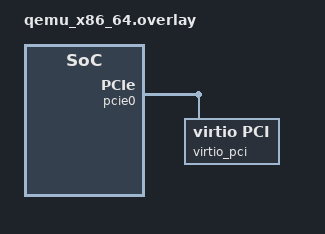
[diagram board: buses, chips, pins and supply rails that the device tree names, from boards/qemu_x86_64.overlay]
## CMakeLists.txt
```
# SPDX-License-Identifier: Apache-2.0

cmake_minimum_required(VERSION 3.28.0)
find_package(Zephyr REQUIRED HINTS $ENV{ZEPHYR_BASE})
project(virtiofs)

file(GLOB app_sources src/*.c)

target_sources(app PRIVATE ${app_sources})

target_include_directories(app PRIVATE "${ZEPHYR_BASE}/drivers/virtio")
```

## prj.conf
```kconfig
CONFIG_ZTEST=y
CONFIG_VIRTIO=y
CONFIG_PCIE=y
CONFIG_FILE_SYSTEM=y
CONFIG_FILE_SYSTEM_VIRTIOFS=y
# Exercise overlong entries with names that fit the host filesystem.
CONFIG_FILE_SYSTEM_MAX_FILE_NAME=31
# Created directories need execute permission for traversal by virtiofsd.
CONFIG_VIRTIOFS_CREATE_MODE_VALUE=511
CONFIG_HEAP_MEM_POOL_SIZE=100000
CONFIG_MAIN_STACK_SIZE=16384
CONFIG_ZTEST_STACK_SIZE=8192

# Static vhost-user-fs device. The matching "-chardev socket,...path=<socket>"
# flag is injected at run time by the twister virtiofs harness.
CONFIG_QEMU_EXTRA_FLAGS="-device vhost-user-fs-pci,queue-size=1024,chardev=char0,tag=myfs -m 32M -object memory-backend-memfd,id=mem,size=32M,share=on -numa node,memdev=mem"
```

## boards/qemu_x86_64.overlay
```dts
&pcie0 {
	virtio_pci: virtio_pci {
		compatible = "virtio,pci";

		vendor-id = <0x1af4>;
		device-id = <0x105a>;

		interrupts = <0xb 0x0 0x0>;
		interrupt-parent = <&intc>;

		status = "okay";
	};
};

/* The board defines a virtio-input PCI device, but this test only wires up a
 * vhost-user-fs device in QEMU. Disable the input node so the virtio-pci
 * driver does not try (and fail) to initialise a device that is not present.
 */
&virtio_input_pci {
	status = "disabled";
};
```

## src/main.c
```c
/*
 * SPDX-FileCopyrightText: Copyright The Zephyr Project Contributors
 * SPDX-License-Identifier: Apache-2.0
 */

#include <zephyr/ztest.h>
#include <zephyr/device.h>
#include <zephyr/fs/fs.h>
#include <zephyr/fs/virtiofs.h>
#include "test_virtiofs.h"

#define VIRTIO_DEV DEVICE_DT_GET(DT_NODELABEL(virtio_pci))

static struct virtiofs_fs_data fs_data;

/*
 * The host share is exported by the virtiofsd daemon that the twister virtiofs
 * harness starts before QEMU boots. The guest reaches it through the
 * vhost-user-fs PCI device described in the board overlay.
 *
 * virtiofsd keeps a single FUSE session per connection: mounting sends
 * FUSE_INIT and unmounting sends FUSE_DESTROY, after which the session cannot
 * be re-initialised. The suite therefore mounts once in setup() and unmounts
 * once in teardown(), and the individual tests operate on that single mount.
 */
struct fs_mount_t testfs_mnt = {
	.type = FS_VIRTIOFS,
	.fs_data = &fs_data,
	.flags = 0,
	.storage_dev = (void *)VIRTIO_DEV,
	.mnt_point = VIRTIOFS_MNT,
};

static void *virtiofs_setup(void)
{
	zassert_ok(fs_mount(&testfs_mnt), "mount failed");
	/* Start from a known empty share regardless of host contents. */
	zassert_ok(delete_dir_recursive(VIRTIOFS_MNT), "wiping share failed");

	return NULL;
}

static void virtiofs_teardown(void *f)
{
	ARG_UNUSED(f);

	(void)fs_unmount(&testfs_mnt);
}

ZTEST_SUITE(virtiofs, NULL, virtiofs_setup, NULL, NULL, virtiofs_teardown);
```

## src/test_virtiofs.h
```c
/*
 * SPDX-FileCopyrightText: Copyright The Zephyr Project Contributors
 * SPDX-License-Identifier: Apache-2.0
 */

#ifndef ZEPHYR_TESTS_SUBSYS_FS_VIRTIOFS_TEST_VIRTIOFS_H_
#define ZEPHYR_TESTS_SUBSYS_FS_VIRTIOFS_TEST_VIRTIOFS_H_

#include <zephyr/fs/fs.h>

/* Mount point of the shared host directory. */
#define VIRTIOFS_MNT "/virtiofs"

/* Mounted once by the suite setup, unmounted by the suite teardown. */
extern struct fs_mount_t testfs_mnt;

/* Remove every entry under path so the share starts empty. */
int delete_dir_recursive(const char *path);

#endif /* ZEPHYR_TESTS_SUBSYS_FS_VIRTIOFS_TEST_VIRTIOFS_H_ */
```

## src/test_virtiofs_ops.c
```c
/*
 * SPDX-FileCopyrightText: Copyright The Zephyr Project Contributors
 * SPDX-License-Identifier: Apache-2.0
 */

#include <errno.h>
#include <stdio.h>
#include <string.h>
#include <zephyr/ztest.h>
#include <zephyr/fs/fs.h>
#include <zephyr/fs/virtiofs.h>
#include "test_virtiofs.h"

#define PATH(name) VIRTIOFS_MNT "/" name

/* Create a file, write to it, read it back and check the contents survive a
 * close/re-open round trip through the host file system.
 */
ZTEST(virtiofs, test_create_write_read)
{
	static const char payload[] = "virtiofs round trip";
	char buf[sizeof(payload)];
	struct fs_file_t file;

	fs_file_t_init(&file);

	zassert_ok(fs_open(&file, PATH("rw_file"), FS_O_CREATE | FS_O_RDWR),
		   "open for write failed");
	zassert_equal(fs_write(&file, payload, sizeof(payload)), sizeof(payload),
		      "short write");
	zassert_ok(fs_close(&file), "close after write failed");

	fs_file_t_init(&file);
	zassert_ok(fs_open(&file, PATH("rw_file"), FS_O_READ), "open for read failed");
	zassert_equal(fs_read(&file, buf, sizeof(buf)), sizeof(buf), "short read");
	zassert_ok(fs_close(&file), "close after read failed");

	zassert_mem_equal(buf, payload, sizeof(payload), "read back mismatch");
}

/* A device that reports max_write == 0 must still be mountable: zero-length
 * writes are no-ops, while non-empty writes are rejected.
 */
ZTEST(virtiofs, test_zero_max_write)
{
	struct virtiofs_fs_data *fs_data = testfs_mnt.fs_data;
	const char byte = 'x';
	struct fs_file_t file;
	uint32_t saved;
	ssize_t zero_ret;
	ssize_t write_ret;

	fs_file_t_init(&file);
	zassert_ok(fs_open(&file, PATH("zero_max_write"), FS_O_CREATE | FS_O_RDWR), "open failed");

	saved = fs_data->max_write;
	fs_data->max_write = 0U;

	zero_ret = fs_write(&file, &byte, 0U);
	write_ret = fs_write(&file, &byte, 1U);

	fs_data->max_write = saved;
	zassert_ok(fs_close(&file), "close failed");

	zassert_equal(zero_ret, 0, "zero-length write failed");
	zassert_equal(write_ret, -ENOTSUP, "write with max_write == 0 was not rejected");
}

/* stat a freshly written file and confirm type and size. */
ZTEST(virtiofs, test_stat)
{
	static const char payload[] = "0123456789";
	struct fs_file_t file;
	struct fs_dirent stat;

	fs_file_t_init(&file);
	zassert_ok(fs_open(&file, PATH("stat_file"), FS_O_CREATE | FS_O_WRITE),
		   "open failed");
	zassert_equal(fs_write(&file, payload, sizeof(payload)), sizeof(payload),
		      "short write");
	zassert_ok(fs_close(&file), "close failed");

	zassert_ok(fs_stat(PATH("stat_file"), &stat), "stat failed");
	zassert_equal(stat.type, FS_DIR_ENTRY_FILE, "not a file");
	zassert_equal(stat.size, sizeof(payload), "unexpected size");
}

/* Create a directory with a couple of files and verify they show up in a
 * readdir, exercising mkdir/opendir/readdir over virtiofs.
 */
ZTEST(virtiofs, test_mkdir_readdir)
{
	struct fs_file_t file;
	struct fs_dir_t dir;
	struct fs_dirent entry;
	bool seen_a = false;
	bool seen_b = false;

	zassert_ok(fs_mkdir(PATH("d")), "mkdir failed");

	fs_file_t_init(&file);
	zassert_ok(fs_open(&file, PATH("d/a"), FS_O_CREATE | FS_O_WRITE), "create a failed");
	zassert_ok(fs_close(&file), "close a failed");

	fs_file_t_init(&file);
	zassert_ok(fs_open(&file, PATH("d/b"), FS_O_CREATE | FS_O_WRITE), "create b failed");
	zassert_ok(fs_close(&file), "close b failed");

	fs_dir_t_init(&dir);
	zassert_ok(fs_opendir(&dir, PATH("d")), "opendir failed");

	while (true) {
		zassert_ok(fs_readdir(&dir, &entry), "readdir failed");
		if (entry.name[0] == '\0') {
			break;
		}
		if (strcmp(entry.name, "a") == 0) {
			seen_a = true;
		} else if (strcmp(entry.name, "b") == 0) {
			seen_b = true;
		}
	}

	zassert_ok(fs_closedir(&dir), "closedir failed");
	zassert_true(seen_a && seen_b, "created entries not listed");
}

/* Unlink removes a file so a subsequent stat fails. */
ZTEST(virtiofs, test_unlink)
{
	struct fs_file_t file;
	struct fs_dirent stat;

	fs_file_t_init(&file);
	zassert_ok(fs_open(&file, PATH("victim"), FS_O_CREATE | FS_O_WRITE), "create failed");
	zassert_ok(fs_close(&file), "close failed");
	zassert_ok(fs_stat(PATH("victim"), &stat), "stat before unlink failed");

	zassert_ok(fs_unlink(PATH("victim")), "unlink failed");
	zassert_not_equal(fs_stat(PATH("victim"), &stat), 0, "file still present after unlink");
}

/*
 * Enough files and name lengths to span several READDIR response buffers.
 * Each entry also triggers a LOOKUP for its size (and a FORGET), so this
 * exercises the batched parser and the asynchronous FORGET path together.
 */
#define BATCH_FILES 40U

ZTEST(virtiofs, test_readdir_multiple_batches)
{
	struct fs_dir_t dir;
	struct fs_dirent entry;
	bool seen[BATCH_FILES] = {false};
	char name[32];
	size_t count = 0;

	zassert_ok(fs_mkdir(PATH("batch")), "mkdir failed");

	for (size_t i = 0; i < BATCH_FILES; i++) {
		struct fs_file_t file;
		char path[64];

		snprintf(name, sizeof(name), "file_%02zu_%s", i,
			 (i % 2) == 0 ? "n" : "longer_name");
		snprintf(path, sizeof(path), "%s/%s", PATH("batch"), name);

		fs_file_t_init(&file);
		zassert_ok(fs_open(&file, path, FS_O_CREATE | FS_O_WRITE), "create %s failed",
			   name);
		zassert_ok(fs_close(&file), "close %s failed", name);
	}

	fs_dir_t_init(&dir);
	zassert_ok(fs_opendir(&dir, PATH("batch")), "opendir failed");

	while (true) {
		unsigned int index;

		zassert_ok(fs_readdir(&dir, &entry), "readdir failed");
		if (entry.name[0] == '\0') {
			break;
		}

		zassert_equal(sscanf(entry.name, "file_%02u_", &index), 1,
			      "unexpected entry name %s", entry.name);
		zassert_true(index < BATCH_FILES, "entry index %u out of range", index);
		zassert_false(seen[index], "duplicate entry %s", entry.name);
		zassert_equal(entry.type, FS_DIR_ENTRY_FILE, "unexpected type for %s", entry.name);
		seen[index] = true;
		count++;
	}

	zassert_ok(fs_closedir(&dir), "closedir failed");
	zassert_equal(count, BATCH_FILES, "expected %u entries, got %zu", BATCH_FILES, count);
}

/* An empty directory must terminate the first readdir immediately. */
ZTEST(virtiofs, test_readdir_empty)
{
	struct fs_dir_t dir;
	struct fs_dirent entry;

	zassert_ok(fs_mkdir(PATH("empty")), "mkdir failed");
	fs_dir_t_init(&dir);
	zassert_ok(fs_opendir(&dir, PATH("empty")), "opendir failed");
	zassert_ok(fs_readdir(&dir, &entry), "readdir failed");
	zassert_equal(entry.name[0], '\0', "empty directory returned an entry");
	zassert_ok(fs_closedir(&dir), "closedir failed");
}

ZTEST(virtiofs, test_readdir_buffer_exhaustion)
{
	struct fs_dir_t dirs[CONFIG_VIRTIOFS_READDIR_BUFFERS + 1U];
	struct fs_file_t file;
	struct fs_dirent entry;
	size_t opened = 0U;
	int ret = 0;
	int close_ret = 0;
	bool entries_match = true;

	zassert_ok(fs_mkdir(PATH("fallback")), "mkdir failed");
	fs_file_t_init(&file);
	zassert_ok(fs_open(&file, PATH("fallback/file"), FS_O_CREATE | FS_O_WRITE), "open failed");
	zassert_ok(fs_close(&file), "close failed");

	while (opened < ARRAY_SIZE(dirs)) {
		fs_dir_t_init(&dirs[opened]);
		ret = fs_opendir(&dirs[opened], PATH("fallback"));
		if (ret != 0) {
			break;
		}
		opened++;
	}

	for (size_t i = 0U; i < opened && ret == 0; i++) {
		ret = fs_readdir(&dirs[i], &entry);
		if (ret != 0) {
			break;
		}
		entries_match = entries_match && strcmp(entry.name, "file") == 0 &&
				entry.type == FS_DIR_ENTRY_FILE;
		ret = fs_readdir(&dirs[i], &entry);
		entries_match = entries_match && ret == 0 && entry.name[0] == '\0';
	}

	for (size_t i = 0U; i < opened; i++) {
		int err = fs_closedir(&dirs[i]);

		if (err != 0) {
			close_ret = err;
		}
	}

	zassert_equal(opened, ARRAY_SIZE(dirs), "not all directories opened");
	zassert_ok(ret, "directory read failed");
	zassert_true(entries_match, "unexpected entry or missing end of directory");
	zassert_ok(close_ret, "closedir failed");
}

ZTEST(virtiofs, test_readdir_oversized_name)
{
	struct fs_file_t file;
	struct fs_dir_t dir;
	struct fs_dirent entry;
	char path[sizeof(PATH("long_name/")) + MAX_FILE_NAME + 1U] = PATH("long_name/");
	size_t prefix_len = strlen(path);
	int ret;

	BUILD_ASSERT(MAX_FILE_NAME < 255, "test name must fit the host filesystem");
	memset(path + prefix_len, 'x', MAX_FILE_NAME + 1U);
	path[sizeof(path) - 1U] = '\0';
	zassert_ok(fs_mkdir(PATH("long_name")), "mkdir failed");
	fs_file_t_init(&file);
	zassert_ok(fs_open(&file, path, FS_O_CREATE | FS_O_WRITE), "open failed");
	zassert_ok(fs_close(&file), "close failed");
	fs_dir_t_init(&dir);
	zassert_ok(fs_opendir(&dir, PATH("long_name")), "opendir failed");
	ret = fs_readdir(&dir, &entry);
	zassert_ok(fs_closedir(&dir), "closedir failed");
	zassert_equal(ret, -ENAMETOOLONG, "overlong entry name was not rejected");
}
```

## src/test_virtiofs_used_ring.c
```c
/*
 * SPDX-FileCopyrightText: Copyright (c) 2026 Process Mission
 * SPDX-License-Identifier: Apache-2.0
 *
 * Regression coverage for the used ring completion path: duplicate chain
 * returns, a batch of two valid completions, and a self-referential chain.
 *
 * The ISR must reject a used ring entry that does not name a chain
 * submitted and still awaiting completion: a repeating device would
 * otherwise push the same descriptors onto the free stack twice, so two
 * later chains share buffers, and the free descriptor counter grows past
 * the queue size while k_stack_push() drops the pushes.
 *
 * The vhost-user-fs device is only used to bring the request virtqueue up
 * and quiesce it; the completions are written by the test itself and
 * processed by calling virtio_isr() directly, so the test is
 * deterministic. The queue state is restored before returning so the other
 * cases in the suite are unaffected.
 */

#include <string.h>
#include <zephyr/device.h>
#include <zephyr/drivers/virtio.h>
#include <zephyr/drivers/virtio/virtio_config.h>
#include <zephyr/drivers/virtio/virtqueue.h>
#include <zephyr/kernel.h>
#include <zephyr/sys/atomic.h>
#include <zephyr/sys/byteorder.h>
#include <zephyr/ztest.h>

#include "virtio_common.h"

#define VIRTIO_DEV DEVICE_DT_GET(DT_NODELABEL(virtio_pci))

/* descriptors in the fake in-flight chain whose id gets re-returned */
#define FAKE_CHAIN_LEN 2U

/* extra descriptors held out of the stack, one as a never-submitted id */
#define SPARE_DESC_LEN 2U

/* duplicate completions injected after the legitimate one */
#define DUPLICATE_RETURNS 3U

/* independent chains completed in a single used ring update */
#define BATCH_CHAIN_COUNT 2U

struct requeue_test_context {
	struct virtq *vq;
	uint16_t chain_head;
	uint16_t calls;
};

static struct virtq *find_request_virtqueue(const struct device *dev, uint16_t *queue_count)
{
	struct virtq *request_vq = NULL;
	uint16_t matches = 0U;
	uint16_t i = 0U;

	while (true) {
		struct virtq *vq = virtio_get_virtqueue(dev, i);

		if (vq == NULL) {
			break;
		}
		/* the request queue is the only one mount traffic touched */
		if (sys_le16_to_cpu(vq->avail->idx) != 0) {
			request_vq = vq;
			matches++;
		}
		i++;
	}

	*queue_count = i;
	/* an ambiguous request queue would make the test assert the wrong one */
	return matches == 1U ? request_vq : NULL;
}

static void inject_used_entry(struct virtq *vq, uint32_t chain_head)
{
	struct virtq_used_elem *slot;
	uint16_t pos = sys_le16_to_cpu(vq->used->idx) % vq->num;

	slot = &vq->used->ring[pos];
	slot->id = sys_cpu_to_le32(chain_head);
	slot->len = 0U;
	vq->used->idx = sys_cpu_to_le16(sys_le16_to_cpu(vq->used->idx) + 1U);
}

static void requeue_test_cb(void *opaque, uint32_t used_len)
{
	struct requeue_test_context *ctx = opaque;

	ARG_UNUSED(used_len);
	ctx->calls++;
	atomic_set_bit(ctx->vq->in_flight, ctx->chain_head);
}

struct completion_test_context {
	uint16_t calls;
	uint16_t order;
};

static uint16_t completion_order;

static void completion_test_cb(void *opaque, uint32_t used_len)
{
	struct completion_test_context *ctx = opaque;

	ARG_UNUSED(used_len);
	ctx->calls++;
	ctx->order = completion_order++;
}

ZTEST(virtiofs, test_used_ring_duplicate_chain_return)
{
	const struct device *dev = VIRTIO_DEV;
	uint16_t chain_desc[FAKE_CHAIN_LEN];
	uint16_t spare_desc[SPARE_DESC_LEN];
	struct virtq *vq;
	stack_data_t *slots;
	uint8_t *pushed;
	uint16_t queue_count;
	uint16_t base_free_n;
	uint16_t saved_used_idx;
	uint16_t chain_head;
	uint16_t popped;
	uint16_t head_count = 0U;
	uint16_t second_count = 0U;
	struct virtq_receive_callback_entry saved_cbe;
	struct requeue_test_context requeue_ctx;
	bool high_id_rejected;
	bool never_submitted_rejected;
	bool batch_duplicate_rejected;
	bool separate_duplicates_rejected;
	bool setup_count_valid;
	bool stack_valid;
	bool restore_valid = true;
	int ret;

	vq = find_request_virtqueue(dev, &queue_count);
	zassert_not_null(vq, "expected exactly one active request virtqueue");
	zassert_not_equal(queue_count, 0U, "device reports no virtqueues");

	/* the mount traffic of the suite setup must be fully processed */
	for (uint16_t i = 0U; i < 1000U && vq->last_used_idx != sys_le16_to_cpu(vq->used->idx);
	     i++) {
		k_sleep(K_MSEC(1));
	}
	zassert_equal(vq->last_used_idx, sys_le16_to_cpu(vq->used->idx), "used ring not quiesced");

	/* a quiesced queue has every descriptor on the free stack */
	base_free_n = vq->free_desc_n;
	zassert_equal(base_free_n, vq->num, "unexpected free descriptor count %u/%u",
		      (unsigned int)base_free_n, (unsigned int)vq->num);

	/* the device has its own shadow of used->idx; the fake entries below
	 * are invisible to it, so the guest side has to be rewound to this
	 * value at the end to stay aligned with the next real completion
	 */
	saved_used_idx = sys_le16_to_cpu(vq->used->idx);
	slots = k_malloc(vq->num * sizeof(stack_data_t));
	zassert_not_null(slots, "out of memory for free stack dump");
	pushed = k_malloc(vq->num);
	if (pushed == NULL) {
		k_free(slots);
		zassert_not_null(pushed, "out of memory for push back mask");
	}

	/*
	 * Wire a well-formed two descriptor chain the way a submission would
	 * leave it, and hold two extra descriptors out of the stack: one
	 * provides headroom, the other is never submitted and its id is used
	 * to probe the never-submitted path below.
	 */
	uint16_t chain_acquired = 0U;
	uint16_t spare_acquired = 0U;
	bool setup_ok = true;

	for (uint16_t i = 0U; i < FAKE_CHAIN_LEN; i++) {
		ret = virtq_get_free_desc(vq, &chain_desc[i], K_NO_WAIT);
		if (ret != 0) {
			setup_ok = false;
			break;
		}
		chain_acquired++;
	}
	for (uint16_t i = 0U; setup_ok && i < SPARE_DESC_LEN; i++) {
		ret = virtq_get_free_desc(vq, &spare_desc[i], K_NO_WAIT);
		if (ret != 0) {
			setup_ok = false;
			break;
		}
		spare_acquired++;
	}
	if (!setup_ok) {
		for (uint16_t i = 0U; i < chain_acquired; i++) {
			virtq_add_free_desc(vq, chain_desc[i]);
		}
		for (uint16_t i = 0U; i < spare_acquired; i++) {
			virtq_add_free_desc(vq, spare_desc[i]);
		}
		k_free(slots);
		k_free(pushed);
		zassert_true(setup_ok, "unable to allocate descriptors for the test");
		return;
	}
	setup_count_valid = vq->free_desc_n == vq->num - FAKE_CHAIN_LEN - SPARE_DESC_LEN;

	chain_head = chain_desc[0];
	vq->desc[chain_head].next = sys_cpu_to_le16(chain_desc[1]);
	vq->desc[chain_head].flags = sys_cpu_to_le16(VIRTQ_DESC_F_NEXT);
	vq->desc[chain_desc[1]].next = 0U;
	vq->desc[chain_desc[1]].flags = 0U;
	atomic_set_bit(vq->in_flight, chain_head);

	saved_cbe = vq->recv_cbs[chain_head];
	requeue_ctx.vq = vq;
	requeue_ctx.chain_head = chain_head;
	requeue_ctx.calls = 0U;
	vq->recv_cbs[chain_head].cb = requeue_test_cb;
	vq->recv_cbs[chain_head].opaque = &requeue_ctx;

	/* A used-ring ID with high bits set must not alias a valid descriptor. */
	inject_used_entry(vq, ((uint32_t)1U << 16U) | chain_head);
	virtio_isr(dev, VIRTIO_QUEUE_INTERRUPT, queue_count);
	high_id_rejected = vq->free_desc_n == (vq->num - FAKE_CHAIN_LEN - SPARE_DESC_LEN) &&
			   requeue_ctx.calls == 0U && atomic_test_bit(vq->in_flight, chain_head);

	/* a used ring entry for an id that was never submitted is skipped */
	inject_used_entry(vq, spare_desc[0]);
	virtio_isr(dev, VIRTIO_QUEUE_INTERRUPT, queue_count);
	never_submitted_rejected = vq->free_desc_n == (vq->num - FAKE_CHAIN_LEN - SPARE_DESC_LEN) &&
				   requeue_ctx.calls == 0U;

	/* A same-batch duplicate must not complete the callback's requeue. */
	inject_used_entry(vq, chain_head);
	inject_used_entry(vq, chain_head);
	virtio_isr(dev, VIRTIO_QUEUE_INTERRUPT, queue_count);
	batch_duplicate_rejected =
		vq->free_desc_n == vq->num - SPARE_DESC_LEN && requeue_ctx.calls == 1U;

	/* The callback simulates a requeue by marking the same head in flight. */
	atomic_clear_bit(vq->in_flight, chain_head);

	/* Later duplicates must leave the free stack and counter unchanged. */
	for (uint16_t i = 0U; i < DUPLICATE_RETURNS; i++) {
		inject_used_entry(vq, chain_head);
		virtio_isr(dev, VIRTIO_QUEUE_INTERRUPT, queue_count);
	}
	separate_duplicates_rejected = vq->free_desc_n == vq->num - SPARE_DESC_LEN &&
				       requeue_ctx.calls == 1U &&
				       vq->last_used_idx == sys_le16_to_cpu(vq->used->idx);

	/* Check every descriptor, then rebuild the queue before reporting failures. */
	popped = 0U;
	while (popped < vq->num) {
		ret = k_stack_pop(&vq->free_desc_stack, &slots[popped], K_NO_WAIT);
		if (ret != 0) {
			break;
		}
		popped++;
	}
	stack_valid = popped == vq->num - SPARE_DESC_LEN;
	memset(pushed, 0, vq->num);

	for (uint16_t i = 0U; i < popped; i++) {
		uint16_t d = (uint16_t)slots[i];

		if (d >= vq->num || pushed[d] != 0U) {
			stack_valid = false;
			continue;
		}
		pushed[d] = 1U;
		if (d == chain_head) {
			head_count++;
		}
		if (d == chain_desc[1]) {
			second_count++;
		}
	}
	for (uint16_t i = 0U; i < vq->num; i++) {
		bool expected_free = i != spare_desc[0] && i != spare_desc[1];

		if ((pushed[i] != 0U) != expected_free) {
			stack_valid = false;
		}
	}

	for (uint16_t i = 0U; i < vq->num; i++) {
		ret = k_stack_push(&vq->free_desc_stack, (stack_data_t)i);
		if (ret != 0) {
			restore_valid = false;
		}
	}
	vq->free_desc_n = base_free_n;
	atomic_clear_bit(vq->in_flight, chain_head);
	vq->recv_cbs[chain_head] = saved_cbe;

	/*
	 * Rewind the used ring bookkeeping to the device's own shadow: the
	 * fake entries stay in the ring but the next real completion lands on
	 * the first injected slot and overwrites it.
	 */
	vq->used->idx = sys_cpu_to_le16(saved_used_idx);
	vq->last_used_idx = saved_used_idx;

	k_free(slots);
	k_free(pushed);

	zassert_true(setup_count_valid, "free count after fake submission mismatch");
	zassert_true(high_id_rejected, "used ring ID with high bits was accepted");
	zassert_true(never_submitted_rejected, "never-submitted ID was accepted");
	zassert_true(batch_duplicate_rejected,
		     "same-batch duplicate was accepted after its callback requeued the head");
	zassert_true(separate_duplicates_rejected,
		     "later duplicates changed queue state or invoked the callback");
	zassert_true(stack_valid, "free stack contains missing or duplicate descriptors");
	zassert_equal(head_count, 1U, "chain head returned %u times", (unsigned int)head_count);
	zassert_equal(second_count, 1U, "chain tail returned %u times", (unsigned int)second_count);
	zassert_true(restore_valid, "failed to restore free descriptor stack");
}

ZTEST(virtiofs, test_used_ring_batch_of_two_completions)
{
	const struct device *dev = VIRTIO_DEV;
	struct virtq *vq;
	stack_data_t slot;
	uint16_t queue_count;
	uint16_t desc[BATCH_CHAIN_COUNT * 2U];
	uint16_t head[BATCH_CHAIN_COUNT];
	struct virtq_receive_callback_entry saved_cbe[BATCH_CHAIN_COUNT];
	struct completion_test_context ctx[BATCH_CHAIN_COUNT];
	uint16_t base_free_n;
	uint16_t saved_used_idx;
	uint16_t acquired = 0U;
	bool callbacks_ok = true;
	bool completion_ok;
	int ret;

	vq = find_request_virtqueue(dev, &queue_count);
	zassert_not_null(vq, "expected exactly one active request virtqueue");
	zassert_not_equal(queue_count, 0U, "device reports no virtqueues");

	for (uint16_t i = 0U; i < 1000U && vq->last_used_idx != sys_le16_to_cpu(vq->used->idx);
	     i++) {
		k_sleep(K_MSEC(1));
	}
	zassert_equal(vq->last_used_idx, sys_le16_to_cpu(vq->used->idx), "used ring not quiesced");

	base_free_n = vq->free_desc_n;
	zassert_equal(base_free_n, vq->num, "unexpected free descriptor count %u/%u",
		      (unsigned int)base_free_n, (unsigned int)vq->num);
	saved_used_idx = sys_le16_to_cpu(vq->used->idx);
	completion_order = 0U;

	for (uint16_t i = 0U; i < BATCH_CHAIN_COUNT * 2U; i++) {
		ret = virtq_get_free_desc(vq, &desc[i], K_NO_WAIT);
		if (ret != 0) {
			break;
		}
		acquired++;
	}
	if (acquired != BATCH_CHAIN_COUNT * 2U) {
		for (uint16_t i = 0U; i < acquired; i++) {
			virtq_add_free_desc(vq, desc[i]);
		}
		zassert_unreachable("not enough free descriptors for the batch test");
	}

	for (uint16_t i = 0U; i < BATCH_CHAIN_COUNT; i++) {
		uint16_t h = desc[i * 2U];
		uint16_t t = desc[i * 2U + 1U];

		head[i] = h;
		vq->desc[h].next = sys_cpu_to_le16(t);
		vq->desc[h].flags = sys_cpu_to_le16(VIRTQ_DESC_F_NEXT);
		vq->desc[t].next = 0U;
		vq->desc[t].flags = 0U;
		atomic_set_bit(vq->in_flight, h);

		saved_cbe[i] = vq->recv_cbs[h];
		ctx[i].calls = 0U;
		ctx[i].order = UINT16_MAX;
		vq->recv_cbs[h].cb = completion_test_cb;
		vq->recv_cbs[h].opaque = &ctx[i];
	}

	for (uint16_t i = 0U; i < BATCH_CHAIN_COUNT; i++) {
		inject_used_entry(vq, head[i]);
	}
	virtio_isr(dev, VIRTIO_QUEUE_INTERRUPT, queue_count);

	for (uint16_t i = 0U; i < BATCH_CHAIN_COUNT; i++) {
		if (ctx[i].calls != 1U || ctx[i].order != i) {
			callbacks_ok = false;
		}
	}
	completion_ok = vq->free_desc_n == base_free_n &&
			vq->last_used_idx == (uint16_t)(saved_used_idx + BATCH_CHAIN_COUNT);

	/* rebuild the queue before reporting failures */
	while (k_stack_pop(&vq->free_desc_stack, &slot, K_NO_WAIT) == 0) {
	}
	for (uint16_t i = 0U; i < vq->num; i++) {
		(void)k_stack_push(&vq->free_desc_stack, (stack_data_t)i);
	}
	vq->free_desc_n = base_free_n;
	for (uint16_t i = 0U; i < BATCH_CHAIN_COUNT; i++) {
		atomic_clear_bit(vq->in_flight, head[i]);
		vq->recv_cbs[head[i]] = saved_cbe[i];
	}
	vq->used->idx = sys_cpu_to_le16(saved_used_idx);
	vq->last_used_idx = saved_used_idx;

	zassert_true(callbacks_ok, "batch callbacks were not invoked once each in order");
	zassert_true(completion_ok, "batch completion changed the free count or used index");
}

ZTEST(virtiofs, test_used_ring_walk_is_bounded)
{
	const struct device *dev = VIRTIO_DEV;
	struct virtq *vq;
	stack_data_t slot;
	uint16_t queue_count;
	uint16_t head;
	uint16_t base_free_n;
	uint16_t saved_used_idx;
	struct virtq_receive_callback_entry saved_cbe;
	struct completion_test_context ctx;
	bool completed;
	int ret;

	vq = find_request_virtqueue(dev, &queue_count);
	zassert_not_null(vq, "expected exactly one active request virtqueue");
	zassert_not_equal(queue_count, 0U, "device reports no virtqueues");

	for (uint16_t i = 0U; i < 1000U && vq->last_used_idx != sys_le16_to_cpu(vq->used->idx);
	     i++) {
		k_sleep(K_MSEC(1));
	}
	zassert_equal(vq->last_used_idx, sys_le16_to_cpu(vq->used->idx), "used ring not quiesced");

	base_free_n = vq->free_desc_n;
	zassert_equal(base_free_n, vq->num, "unexpected free descriptor count %u/%u",
		      (unsigned int)base_free_n, (unsigned int)vq->num);
	saved_used_idx = sys_le16_to_cpu(vq->used->idx);

	ret = virtq_get_free_desc(vq, &head, K_NO_WAIT);
	zassert_equal(ret, 0, "no free descriptor for the walk test");

	/* a chain that points at itself must not trap the descriptor walk */
	vq->desc[head].next = sys_cpu_to_le16(head);
	vq->desc[head].flags = sys_cpu_to_le16(VIRTQ_DESC_F_NEXT);
	atomic_set_bit(vq->in_flight, head);

	saved_cbe = vq->recv_cbs[head];
	ctx.calls = 0U;
	ctx.order = UINT16_MAX;
	vq->recv_cbs[head].cb = completion_test_cb;
	vq->recv_cbs[head].opaque = &ctx;

	inject_used_entry(vq, head);
	virtio_isr(dev, VIRTIO_QUEUE_INTERRUPT, queue_count);

	completed = ctx.calls == 1U && vq->last_used_idx == (uint16_t)(saved_used_idx + 1U) &&
		    vq->free_desc_n == base_free_n;

	while (k_stack_pop(&vq->free_desc_stack, &slot, K_NO_WAIT) == 0) {
	}
	for (uint16_t i = 0U; i < vq->num; i++) {
		(void)k_stack_push(&vq->free_desc_stack, (stack_data_t)i);
	}
	vq->free_desc_n = base_free_n;
	atomic_clear_bit(vq->in_flight, head);
	vq->recv_cbs[head] = saved_cbe;
	vq->used->idx = sys_cpu_to_le16(saved_used_idx);
	vq->last_used_idx = saved_used_idx;

	zassert_true(completed, "descriptor walk was not bounded or the completion was lost");
}
```

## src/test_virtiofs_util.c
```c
/*
 * SPDX-FileCopyrightText: Copyright The Zephyr Project Contributors
 * SPDX-License-Identifier: Apache-2.0
 */

#include <errno.h>
#include <stdio.h>
#include <zephyr/fs/fs.h>
#include "test_virtiofs.h"

#define MAX_PATH_LEN 256

int delete_dir_recursive(const char *path)
{
	struct fs_dir_t dir;
	struct fs_dirent entry;
	char full_path[MAX_PATH_LEN];

	fs_dir_t_init(&dir);

	int rc = fs_opendir(&dir, path);

	if (rc < 0) {
		return rc;
	}

	while (true) {
		rc = fs_readdir(&dir, &entry);
		if (rc < 0) {
			break;
		}

		if (entry.name[0] == 0) {
			/* End of directory */
			break;
		}

		int n = snprintf(full_path, sizeof(full_path), "%s/%s", path, entry.name);

		if (n < 0 || (size_t)n >= sizeof(full_path)) {
			rc = -ENAMETOOLONG;
			break;
		}

		if (entry.type == FS_DIR_ENTRY_DIR) {
			/* Recursively delete subdirectory contents first */
			rc = delete_dir_recursive(full_path);
			if (rc < 0) {
				break;
			}
		}

		rc = fs_unlink(full_path);
		if (rc < 0) {
			break;
		}
	}

	fs_closedir(&dir);

	return rc;
}
```
